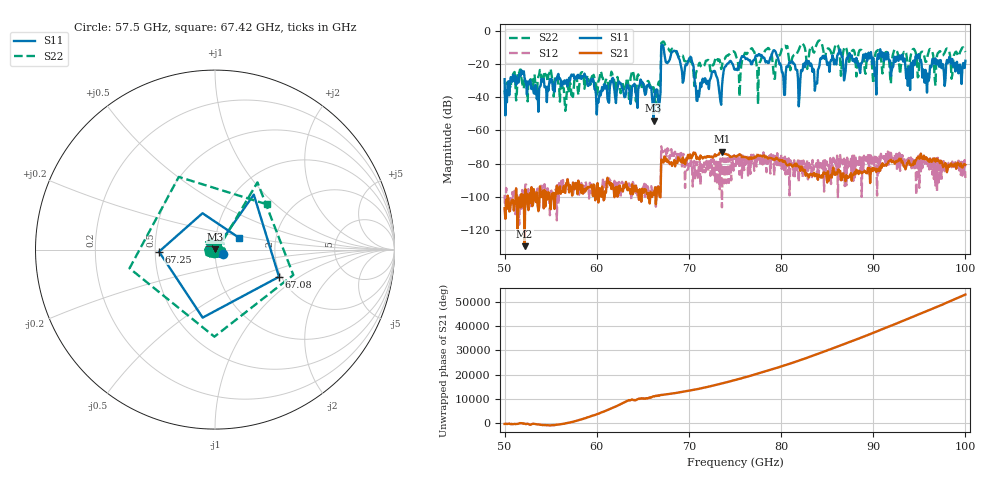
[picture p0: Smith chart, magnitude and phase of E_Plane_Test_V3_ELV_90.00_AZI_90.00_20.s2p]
! 11/26/2026 4:12:44 PM
! C:\ANRITSUVNA\TEMP\TEMP.S2P
! CHANNEL.1
! TR.MEASUREMENT
! RAW.DATA
# HZ S RI R 50.0
! FREQ.HZ  S11RE  S11IM  S21RE  S21IM  S12RE  S12IM  S22RE  S22IM
!; PortSelection: Port_12
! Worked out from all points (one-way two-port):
!   601 points, 50 GHz to 100 GHz, reference 50 ohm
!   highest |S21| = -72.74 dB at 73.58 GHz (marker M1); lowest = -130.0 dB at 52.17 GHz (marker M2)
!   lowest |S11| = -54.0 dB at 66.17 GHz (marker M3), VSWR 1.00, Z = 50.1 + j0.144 ohm
!   |S11| at or under -10 dB: start of sweep to 67 GHz; 67.24 GHz to end of sweep
!   |S22| runs from -48.2 to -5.6 dB; largest |S21 - S12| = 0.00037
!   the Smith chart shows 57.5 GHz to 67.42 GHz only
!   S11 on the Smith chart (normalised r, x): 57.5 GHz: 1.09, -0.05; 67.08 GHz: 1.94, -0.69; 67.25 GHz: 0.52, -0.01; 67.42 GHz: 1.29, +0.18
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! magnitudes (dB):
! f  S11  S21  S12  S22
! 50 GHz  -29.0  -107.1  -98.9  -35.8
! 52.17 GHz  -28.1  -130.0  -98.9  -27.7
! 57.5 GHz  -26.2  -92.1  -95.9  -34.7
! 58.42 GHz  -27.1  -93.2  -98.8  -24.7
! 60.17 GHz  -43.2  -103.6  -96.8  -30.4
! 66.17 GHz  -54.0  -98.9  -96.4  -34.0
! 66.67 GHz  -41.5  -93.8  -100.3  -31.7
! 67.08 GHz  -8.2  -77.9  -72.5  -6.8
! 67.25 GHz  -10.1  -79.3  -72.8  -6.2
! 67.42 GHz  -16.6  -76.2  -70.5  -8.3
! 70.17 GHz  -15.4  -74.5  -82.5  -18.6
! 70.67 GHz  -33.0  -73.5  -88.9  -33.2
! 73.58 GHz  -33.6  -72.7  -106.5  -21.1
! 75 GHz  -23.3  -75.7  -80.5  -13.0
! 79.25 GHz  -11.5  -77.8  -87.2  -28.8
! 80.25 GHz  -28.0  -78.3  -76.7  -9.3
! 83.42 GHz  -24.6  -87.5  -77.9  -10.8
! 91.67 GHz  -16.8  -78.6  -80.8  -15.2
! 93.75 GHz  -33.0  -79.8  -81.9  -21.3
! 94.83 GHz  -15.0  -76.5  -87.9  -27.9
! 95.83 GHz  -37.1  -76.9  -77.9  -16.5
! 100 GHz  -17.8  -80.7  -88.8  -12.6
